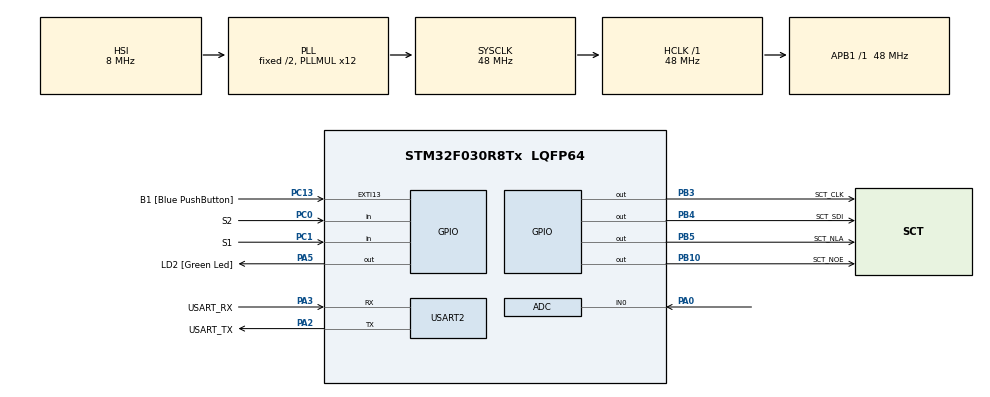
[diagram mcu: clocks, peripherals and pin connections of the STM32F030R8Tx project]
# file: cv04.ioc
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ADC.ContinuousConvMode=ENABLE
ADC.Overrun=ADC_OVR_DATA_OVERWRITTEN
ADC.SamplingTime=ADC_SAMPLETIME_239CYCLES_5
Mcu.Family=STM32F0
Mcu.Name=STM32F030R8Tx
Mcu.Package=LQFP64
NVIC.ADC1_IRQn=true\:0\:0\:false\:false\:true\:true\:true
PA0.Mode=IN0
PA0.Signal=ADC_IN0
PA13.GPIO_Label=TMS
PA13.Mode=Serial_Wire
PA13.Signal=SYS_SWDIO
PA14.GPIO_Label=TCK
PA14.Mode=Serial_Wire
PA14.Signal=SYS_SWCLK
PA2.GPIO_Label=USART_TX
PA2.GPIO_Mode=GPIO_MODE_AF_PP
PA2.GPIO_PuPd=GPIO_NOPULL
PA2.GPIO_Speed=GPIO_SPEED_FREQ_LOW
PA2.Mode=Asynchronous
PA2.Signal=USART2_TX
PA3.GPIO_Label=USART_RX
PA3.GPIO_Mode=GPIO_MODE_AF_PP
PA3.GPIO_PuPd=GPIO_NOPULL
PA3.GPIO_Speed=GPIO_SPEED_FREQ_LOW
PA3.Mode=Asynchronous
PA3.Signal=USART2_RX
PA5.GPIO_Label=LD2 [Green Led]
PA5.GPIO_Mode=GPIO_MODE_OUTPUT_PP
PA5.GPIO_PuPd=GPIO_NOPULL
PA5.GPIO_Speed=GPIO_SPEED_FREQ_LOW
PA5.Signal=GPIO_Output
PB10.GPIO_Label=SCT_NOE
PB10.Signal=GPIO_Output
PB3.GPIO_Label=SCT_CLK
PB3.Signal=GPIO_Output
PB4.GPIO_Label=SCT_SDI
PB4.Signal=GPIO_Output
PB5.GPIO_Label=SCT_NLA
PB5.Signal=GPIO_Output
PC0.GPIO_Label=S2
PC0.GPIO_PuPd=GPIO_PULLUP
PC0.Signal=GPIO_Input
PC1.GPIO_Label=S1
PC1.GPIO_PuPd=GPIO_PULLUP
PC1.Signal=GPIO_Input
PC13.GPIO_Label=B1 [Blue PushButton]
PC13.GPIO_ModeDefaultEXTI=GPIO_MODE_IT_FALLING
PC13.Signal=GPXTI13
PC14-OSC32_IN.Mode=LSE-External-Oscillator
PC14-OSC32_IN.Signal=RCC_OSC32_IN
PC15-OSC32_OUT.Mode=LSE-External-Oscillator
PC15-OSC32_OUT.Signal=RCC_OSC32_OUT
PF0-OSC_IN.Mode=HSE-External-Clock-Source
PF0-OSC_IN.Signal=RCC_OSC_IN
PF1-OSC_OUT.Signal=RCC_OSC_OUT
ProjectManager.HeapSize=0x200
ProjectManager.StackSize=0x400
ProjectManager.TargetToolchain=STM32CubeIDE
RCC.AHBFreq_Value=48000000
RCC.APB1Freq_Value=48000000
RCC.APB1TimFreq_Value=48000000
RCC.HCLKFreq_Value=48000000
RCC.PLLMUL=RCC_PLL_MUL12
RCC.SYSCLKFreq_VALUE=48000000
RCC.SYSCLKSource=RCC_SYSCLKSOURCE_PLLCLK
USART2.VirtualMode-Asynchronous=VM_ASYNC
VP_ADC_TempSens_Input.Mode=IN-TempSens
VP_ADC_Vref_Input.Mode=IN-Vrefint
board=NUCLEO-F030R8

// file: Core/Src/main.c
/* USER CODE BEGIN Header */
/**
  ******************************************************************************
  * @file           : main.c
  * @brief          : Main program body
  ******************************************************************************
  * @attention
  *
  * <h2><center>&copy; Copyright (c) 2020 STMicroelectronics.
  * All rights reserved.</center></h2>
  *
  * This software component is licensed by ST under BSD 3-Clause license,
  * the "License"; You may not use this file except in compliance with the
  * License. You may obtain a copy of the License at:
  *                        opensource.org/licenses/BSD-3-Clause
  *
  ******************************************************************************
  */
/* USER CODE END Header */
#include "main.h"

/* USER CODE BEGIN Includes */
#include "sct.h"

/* USER CODE END Includes */

/* USER CODE BEGIN PD */
#define ADC_Q 14

/* Temperature sensor calibration value address */
#define TEMP110_CAL_ADDR ((uint16_t*) ((uint32_t) 0x1FFFF7C2))
#define TEMP30_CAL_ADDR ((uint16_t*) ((uint32_t) 0x1FFFF7B8))

/* Internal voltage reference calibration value address */
#define VREFINT_CAL_ADDR ((uint16_t*) ((uint32_t) 0x1FFFF7BA))

/* USER CODE END PD */

ADC_HandleTypeDef hadc;

UART_HandleTypeDef huart2;

/* USER CODE BEGIN PV */

static volatile uint32_t raw_pot;
static volatile uint32_t raw_temp;
static volatile uint32_t raw_volt;

/* USER CODE END PV */

void SystemClock_Config(void);
static void MX_GPIO_Init(void);
static void MX_USART2_UART_Init(void);
static void MX_ADC_Init(void);

/* USER CODE BEGIN 0 */

void HAL_ADC_ConvCpltCallback(ADC_HandleTypeDef* hadc)
{
	static uint8_t channel = 0;

	if(channel == 0)
	{
		static uint32_t avg_pot;

		raw_pot = avg_pot >> ADC_Q;
		avg_pot -= raw_pot;
		avg_pot += HAL_ADC_GetValue(hadc);
	}
	else if(channel == 1)
	{
		raw_temp = HAL_ADC_GetValue(hadc);
	}
	else if(channel == 2)
	{
		raw_volt = HAL_ADC_GetValue(hadc);
	}

	if(__HAL_ADC_GET_FLAG(hadc, ADC_FLAG_EOS)) channel = 0;
	else channel++;

}

/* USER CODE END 0 */

int main(void)
{

  /* MCU Configuration--------------------------------------------------------*/

  /* Reset of all peripherals, Initializes the Flash interface and the Systick. */
  HAL_Init();

  /* Configure the system clock */
  SystemClock_Config();

  /* Initialize all configured peripherals */
  MX_GPIO_Init();
  MX_USART2_UART_Init();
  MX_ADC_Init();
  /* USER CODE BEGIN 2 */

  sct_init();

  HAL_ADCEx_Calibration_Start(&hadc);		//kalibrace ADC
  HAL_ADC_Start_IT(&hadc);					//zapnuti ADC

  /* USER CODE END 2 */

  /* Infinite loop */
  while (1)
  {

    /* USER CODE BEGIN 3 */

	  static enum {SHOW_POT, SHOW_TEMP, SHOW_VOLT} state = SHOW_POT;
	  static uint32_t delay;

	  if (state == SHOW_POT)
	  {
		  sct_value(raw_pot * 500 / 4096, raw_pot * 9 / 4096);
	  }
	  else if (state == SHOW_TEMP)
	  {
		  int32_t temperature = (raw_temp - (int32_t)(*TEMP30_CAL_ADDR));

		  temperature = temperature * (int32_t)(110 - 30);
		  temperature = temperature / (int32_t)(*TEMP110_CAL_ADDR - *TEMP30_CAL_ADDR);
		  temperature = temperature + 30;

		  sct_value(temperature, raw_pot * 9 / 4096);
	  }
	  else if(state == SHOW_VOLT)
	  {
		  uint32_t voltage = 330 * (*VREFINT_CAL_ADDR) / raw_volt;
		  sct_value(voltage, raw_pot * 9 / 4096);
	  }

	  if (HAL_GPIO_ReadPin(GPIOC, GPIO_PIN_0) == 0)
	  {
		  state = SHOW_TEMP;
		  delay = HAL_GetTick();
	  }
	  else if (HAL_GPIO_ReadPin(GPIOC, GPIO_PIN_1) == 0)
	  {
		  state = SHOW_VOLT;
		  delay = HAL_GetTick();
	  }

	  if (HAL_GetTick() > delay + 2000) state = SHOW_POT;

  }
  /* USER CODE END 3 */
}

void SystemClock_Config(void)
{
  RCC_OscInitTypeDef RCC_OscInitStruct = {0};
  RCC_ClkInitTypeDef RCC_ClkInitStruct = {0};

  /** Initializes the RCC Oscillators according to the specified parameters
  * in the RCC_OscInitTypeDef structure.
  */
  RCC_OscInitStruct.OscillatorType = RCC_OSCILLATORTYPE_HSI|RCC_OSCILLATORTYPE_HSI14;
  RCC_OscInitStruct.HSIState = RCC_HSI_ON;
  RCC_OscInitStruct.HSI14State = RCC_HSI14_ON;
  RCC_OscInitStruct.HSICalibrationValue = RCC_HSICALIBRATION_DEFAULT;
  RCC_OscInitStruct.HSI14CalibrationValue = 16;
  RCC_OscInitStruct.PLL.PLLState = RCC_PLL_ON;
  RCC_OscInitStruct.PLL.PLLSource = RCC_PLLSOURCE_HSI;
  RCC_OscInitStruct.PLL.PLLMUL = RCC_PLL_MUL12;
  RCC_OscInitStruct.PLL.PREDIV = RCC_PREDIV_DIV1;
  if (HAL_RCC_OscConfig(&RCC_OscInitStruct) != HAL_OK)
  {
    Error_Handler();
  }
  /** Initializes the CPU, AHB and APB buses clocks
  */
  RCC_ClkInitStruct.ClockType = RCC_CLOCKTYPE_HCLK|RCC_CLOCKTYPE_SYSCLK
                              |RCC_CLOCKTYPE_PCLK1;
  RCC_ClkInitStruct.SYSCLKSource = RCC_SYSCLKSOURCE_PLLCLK;
  RCC_ClkInitStruct.AHBCLKDivider = RCC_SYSCLK_DIV1;
  RCC_ClkInitStruct.APB1CLKDivider = RCC_HCLK_DIV1;

  if (HAL_RCC_ClockConfig(&RCC_ClkInitStruct, FLASH_LATENCY_1) != HAL_OK)
  {
    Error_Handler();
  }
}

static void MX_ADC_Init(void)
{

  ADC_ChannelConfTypeDef sConfig = {0};

  /** Configure the global features of the ADC (Clock, Resolution, Data Alignment and number of conversion)
  */
  hadc.Instance = ADC1;
  hadc.Init.ClockPrescaler = ADC_CLOCK_ASYNC_DIV1;
  hadc.Init.Resolution = ADC_RESOLUTION_12B;
  hadc.Init.DataAlign = ADC_DATAALIGN_RIGHT;
  hadc.Init.ScanConvMode = ADC_SCAN_DIRECTION_FORWARD;
  hadc.Init.EOCSelection = ADC_EOC_SINGLE_CONV;
  hadc.Init.LowPowerAutoWait = DISABLE;
  hadc.Init.LowPowerAutoPowerOff = DISABLE;
  hadc.Init.ContinuousConvMode = ENABLE;
  hadc.Init.DiscontinuousConvMode = DISABLE;
  hadc.Init.ExternalTrigConv = ADC_SOFTWARE_START;
  hadc.Init.ExternalTrigConvEdge = ADC_EXTERNALTRIGCONVEDGE_NONE;
  hadc.Init.DMAContinuousRequests = DISABLE;
  hadc.Init.Overrun = ADC_OVR_DATA_OVERWRITTEN;
  if (HAL_ADC_Init(&hadc) != HAL_OK)
  {
    Error_Handler();
  }
  /** Configure for the selected ADC regular channel to be converted.
  */
  sConfig.Channel = ADC_CHANNEL_0;
  sConfig.Rank = ADC_RANK_CHANNEL_NUMBER;
  sConfig.SamplingTime = ADC_SAMPLETIME_239CYCLES_5;
  if (HAL_ADC_ConfigChannel(&hadc, &sConfig) != HAL_OK)
  {
    Error_Handler();
  }
  /** Configure for the selected ADC regular channel to be converted.
  */
  sConfig.Channel = ADC_CHANNEL_TEMPSENSOR;
  if (HAL_ADC_ConfigChannel(&hadc, &sConfig) != HAL_OK)
  {
    Error_Handler();
  }
  /** Configure for the selected ADC regular channel to be converted.
  */
  sConfig.Channel = ADC_CHANNEL_VREFINT;
  if (HAL_ADC_ConfigChannel(&hadc, &sConfig) != HAL_OK)
  {
    Error_Handler();
  }

}

static void MX_USART2_UART_Init(void)
{

  huart2.Instance = USART2;
  huart2.Init.BaudRate = 38400;
  huart2.Init.WordLength = UART_WORDLENGTH_8B;
  huart2.Init.StopBits = UART_STOPBITS_1;
  huart2.Init.Parity = UART_PARITY_NONE;
  huart2.Init.Mode = UART_MODE_TX_RX;
  huart2.Init.HwFlowCtl = UART_HWCONTROL_NONE;
  huart2.Init.OverSampling = UART_OVERSAMPLING_16;
  huart2.Init.OneBitSampling = UART_ONE_BIT_SAMPLE_DISABLE;
  huart2.AdvancedInit.AdvFeatureInit = UART_ADVFEATURE_NO_INIT;
  if (HAL_UART_Init(&huart2) != HAL_OK)
  {
    Error_Handler();
  }

}

static void MX_GPIO_Init(void)
{
  GPIO_InitTypeDef GPIO_InitStruct = {0};

  /* GPIO Ports Clock Enable */
  __HAL_RCC_GPIOC_CLK_ENABLE();
  __HAL_RCC_GPIOF_CLK_ENABLE();
  __HAL_RCC_GPIOA_CLK_ENABLE();
  __HAL_RCC_GPIOB_CLK_ENABLE();

  /*Configure GPIO pin Output Level */
  HAL_GPIO_WritePin(LD2_GPIO_Port, LD2_Pin, GPIO_PIN_RESET);

  /*Configure GPIO pin Output Level */
  HAL_GPIO_WritePin(GPIOB, SCT_NOE_Pin|SCT_CLK_Pin|SCT_SDI_Pin|SCT_NLA_Pin, GPIO_PIN_RESET);

  /*Configure GPIO pin : B1_Pin */
  GPIO_InitStruct.Pin = B1_Pin;
  GPIO_InitStruct.Mode = GPIO_MODE_IT_FALLING;
  GPIO_InitStruct.Pull = GPIO_NOPULL;
  HAL_GPIO_Init(B1_GPIO_Port, &GPIO_InitStruct);

  /*Configure GPIO pins : S2_Pin S1_Pin */
  GPIO_InitStruct.Pin = S2_Pin|S1_Pin;
  GPIO_InitStruct.Mode = GPIO_MODE_INPUT;
  GPIO_InitStruct.Pull = GPIO_PULLUP;
  HAL_GPIO_Init(GPIOC, &GPIO_InitStruct);

  /*Configure GPIO pin : LD2_Pin */
  GPIO_InitStruct.Pin = LD2_Pin;
  GPIO_InitStruct.Mode = GPIO_MODE_OUTPUT_PP;
  GPIO_InitStruct.Pull = GPIO_NOPULL;
  GPIO_InitStruct.Speed = GPIO_SPEED_FREQ_LOW;
  HAL_GPIO_Init(LD2_GPIO_Port, &GPIO_InitStruct);

  /*Configure GPIO pins : SCT_NOE_Pin SCT_CLK_Pin SCT_SDI_Pin SCT_NLA_Pin */
  GPIO_InitStruct.Pin = SCT_NOE_Pin|SCT_CLK_Pin|SCT_SDI_Pin|SCT_NLA_Pin;
  GPIO_InitStruct.Mode = GPIO_MODE_OUTPUT_PP;
  GPIO_InitStruct.Pull = GPIO_NOPULL;
  GPIO_InitStruct.Speed = GPIO_SPEED_FREQ_LOW;
  HAL_GPIO_Init(GPIOB, &GPIO_InitStruct);

}

void Error_Handler(void)
{
}

/************************ (C) COPYRIGHT STMicroelectronics *****END OF FILE****/
